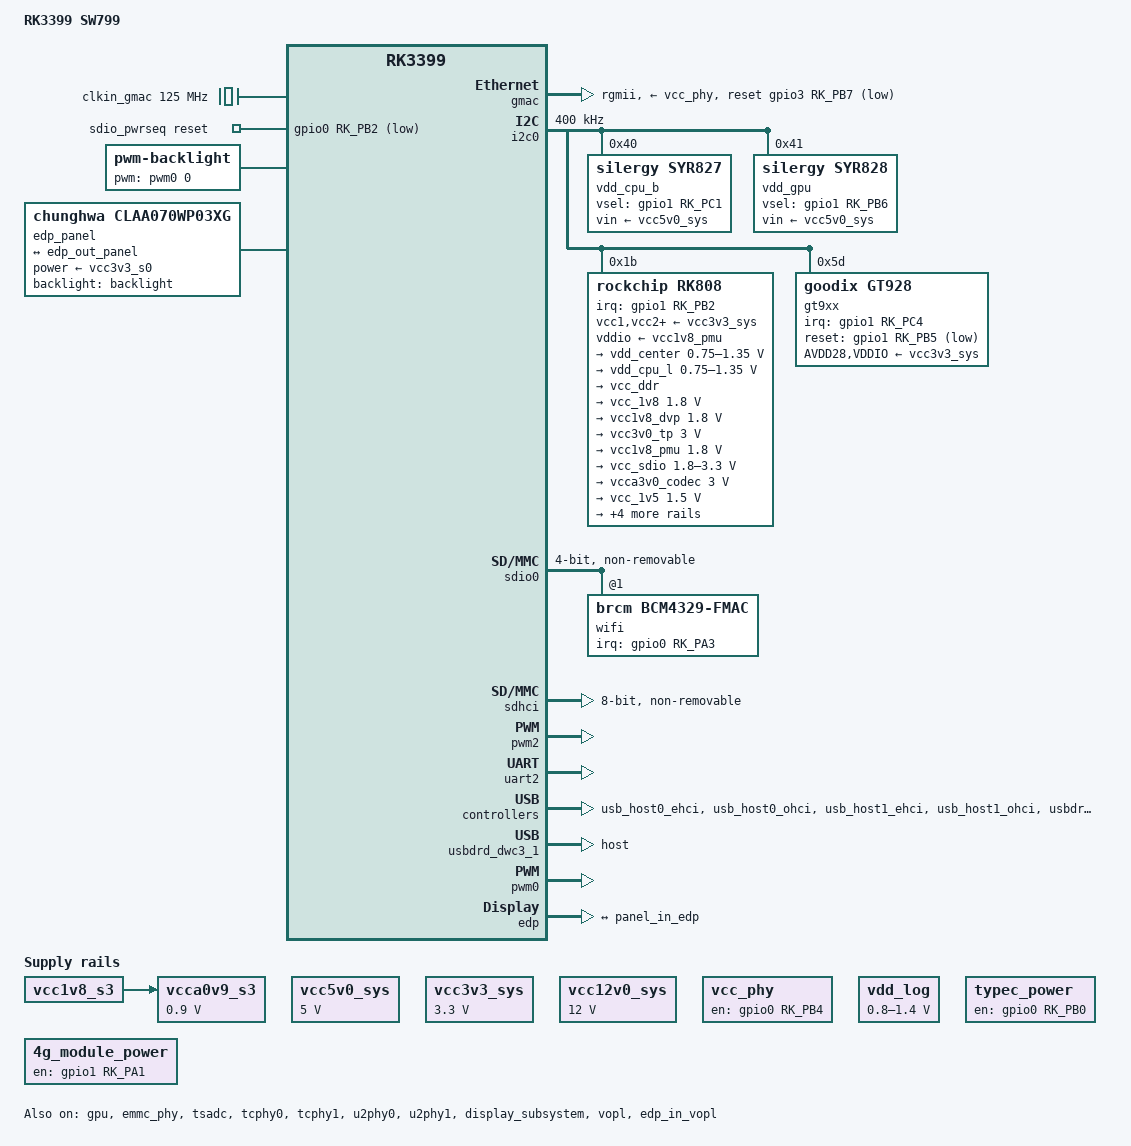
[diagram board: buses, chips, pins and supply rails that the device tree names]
/dts-v1/;
#include <dt-bindings/pwm/pwm.h>
#include <dt-bindings/input/input.h>
#include "rk3399.dtsi"
#include "rk3399-opp.dtsi"


/ {
	model = "RK3399 SW799";
	compatible = "rockchip,rk3399-sw799", "rockchip,rk3399";

	aliases {
		mmc0 = &sdhci;
	};

	
	clkin_gmac: external-gmac-clock {
		compatible = "fixed-clock";
		clock-frequency = <125000000>;
		clock-output-names = "clkin_gmac";
		#clock-cells = <0>;
	};

	vcc5v0_sys: vcc5v0-sys {
		compatible = "regulator-fixed";
		regulator-name = "vcc5v0_sys";
		regulator-always-on;
		regulator-boot-on;
		regulator-min-microvolt = <5000000>;
		regulator-max-microvolt = <5000000>;
	};

	vcc3v3_sys: vcc3v3-sys {
		compatible = "regulator-fixed";
		regulator-name = "vcc3v3_sys";
		regulator-always-on;
		regulator-boot-on;
		regulator-min-microvolt = <3300000>;
		regulator-max-microvolt = <3300000>;
	};



	vcca0v9_s3: vcca0v9-s3 {
		compatible = "regulator-fixed";
		regulator-min-microvolt = <900000>;
		regulator-max-microvolt = <900000>;
		regulator-name = "vcca0v9_s3";
		vin-supply = <&vcc1v8_s3>;
	};

	vcc12v0_sys: vcc12v0-sys {
		compatible = "regulator-fixed";
		regulator-always-on;
		regulator-boot-on;
		regulator-max-microvolt = <12000000>;
		regulator-min-microvolt = <12000000>;
		regulator-name = "vcc12v0_sys";
	};



	vcc_phy: vcc-phy {
		compatible = "regulator-fixed";
		enable-active-high;
		gpio = <&gpio0 RK_PB4 GPIO_ACTIVE_HIGH>;
		pinctrl-names = "default";
		regulator-name = "vcc_phy";
		regulator-always-on;
		regulator-boot-on;
	};

	vdd_log: vdd-log  {
		compatible = "pwm-regulator";
		pwms = <&pwm2 0 25000 1>;
		regulator-name = "vdd_log";
		regulator-min-microvolt = <800000>;
		regulator-max-microvolt = <1400000>;
		rockchip,pwm_voltage = <900000>;
		regulator-always-on;
		regulator-boot-on;
	};

	sdio_pwrseq: sdio-pwrseq {
		compatible = "mmc-pwrseq-simple";
		clocks = <&rk808 1>;
		clock-names = "ext_clock";
		pinctrl-names = "default";
		reset-gpios = <&gpio0 RK_PB2 GPIO_ACTIVE_LOW>;
	};

	typec_power {
		status = "okay";
		compatible = "regulator-fixed";
		enable-active-high;
		gpio = <&gpio0 RK_PB0 GPIO_ACTIVE_HIGH>;
		pinctrl-names = "default";
		regulator-name = "typec_power";
		regulator-always-on;
	};

	usb_power {
		status = "okay";
		compatible = "regulator-fixed";
		enable-active-high;
		gpio = <&gpio2 RK_PD3 GPIO_ACTIVE_HIGH>;
		pinctrl-names = "default";
		regulator-name = "typec_power";
		regulator-always-on;
	};

	4g_module_power {
		status = "okay";
		compatible = "regulator-fixed";
		enable-active-high;
		gpio = <&gpio1 RK_PA1 GPIO_ACTIVE_HIGH>;
		pinctrl-names = "default";
		regulator-name = "4g_module_power";
		regulator-always-on;
	};


	backlight: backlight {
		compatible = "pwm-backlight";
		brightness-levels = <
			  0   1   2   3   4   5   6   7
			  8   9  10  11  12  13  14  15
			 16  17  18  19  20  21  22  23
			 24  25  26  27  28  29  30  31
			 32  33  34  35  36  37  38  39
			 40  41  42  43  44  45  46  47
			 48  49  50  51  52  53  54  55
			 56  57  58  59  60  61  62  63
			 64  65  66  67  68  69  70  71
			 72  73  74  75  76  77  78  79
			 80  81  82  83  84  85  86  87
			 88  89  90  91  92  93  94  95
			 96  97  98  99 100 101 102 103
			104 105 106 107 108 109 110 111
			112 113 114 115 116 117 118 119
			120 121 122 123 124 125 126 127
			128 129 130 131 132 133 134 135
			136 137 138 139 140 141 142 143
			144 145 146 147 148 149 150 151
			152 153 154 155 156 157 158 159
			160 161 162 163 164 165 166 167
			168 169 170 171 172 173 174 175
			176 177 178 179 180 181 182 183
			184 185 186 187 188 189 190 191
			192 193 194 195 196 197 198 199
			200 201 202 203 204 205 206 207
			208 209 210 211 212 213 214 215
			216 217 218 219 220 221 222 223
			224 225 226 227 228 229 230 231
			232 233 234 235 236 237 238 239
			240 241 242 243 244 245 246 247
			248 249 250 251 252 253 254 255>;
		default-brightness-level = <200>;
		pwms = <&pwm0 0 25000 0>;
	};


	edp_panel: edp-panel {		
	    compatible = "chunghwa,claa070wp03xg";
        status = "okay";
    
		backlight = <&backlight>;
		power-supply = <&vcc3v3_s0>;
        prepare-delay-ms = <20>;
        enable-delay-ms = <20>;

		port {
				panel_in_edp: endpoint {
						remote-endpoint = <&edp_out_panel>;
				};
		};
	};


};

&cpu_l0 {
	cpu-supply = <&vdd_cpu_l>;
};

&cpu_l1 {
	cpu-supply = <&vdd_cpu_l>;
};

&cpu_l2 {
	cpu-supply = <&vdd_cpu_l>;
};

&cpu_l3 {
	cpu-supply = <&vdd_cpu_l>;
};

&cpu_b0 {
	cpu-supply = <&vdd_cpu_b>;
};

&cpu_b1 {
	cpu-supply = <&vdd_cpu_b>;
};

&gpu {
	mali-supply = <&vdd_gpu>;
	status = "okay";
};

&emmc_phy {
	status = "okay";
};

&gmac {
	phy-supply = <&vcc_phy>;
	phy-mode = "rgmii";
	clock_in_out = "input";
	snps,reset-gpio = <&gpio3 RK_PB7 GPIO_ACTIVE_LOW>;
	snps,reset-active-low;
	snps,reset-delays-us = <0 10000 50000>;
	assigned-clocks = <&cru SCLK_RMII_SRC>;
	assigned-clock-parents = <&clkin_gmac>;
	pinctrl-names = "default";
	pinctrl-0 = <&rgmii_pins>;
	tx_delay = <0x28>;
	rx_delay = <0x11>;
	status = "okay";
};

&i2c0 {
	status = "okay";
	i2c-scl-rising-time-ns = <168>;
	i2c-scl-falling-time-ns = <4>;
	clock-frequency = <400000>;

	vdd_cpu_b: syr827@40 {
		compatible = "silergy,syr827";
		reg = <0x40>;
		vin-supply = <&vcc5v0_sys>;
		regulator-compatible = "fan53555-reg";
		vsel-gpios = <&gpio1 RK_PC1 GPIO_ACTIVE_HIGH>;
		regulator-name = "vdd_cpu_b";
		regulator-min-microvolt = <712500>;
		regulator-max-microvolt = <1500000>;
		regulator-ramp-delay = <1000>;
		fcs,suspend-voltage-selector = <1>;
		regulator-always-on;
		regulator-boot-on;
		regulator-initial-state = <3>;

		regulator-state-mem {
			regulator-off-in-suspend;
		};
	};

	vdd_gpu: syr828@41 {
		compatible = "silergy,syr828";
		reg = <0x41>;
		vin-supply = <&vcc5v0_sys>;
		regulator-compatible = "fan53555-reg";
		pinctrl-names = "default";
		vsel-gpios = <&gpio1 RK_PB6 GPIO_ACTIVE_HIGH>;
		regulator-name = "vdd_gpu";
		regulator-min-microvolt = <712500>;
		regulator-max-microvolt = <1500000>;
		regulator-ramp-delay = <1000>;
		fcs,suspend-voltage-selector = <1>;
		regulator-always-on;
		regulator-boot-on;
		regulator-initial-state = <3>;

		regulator-state-mem {
			regulator-off-in-suspend;
		};
	};

	rk808: pmic@1b {
		compatible = "rockchip,rk808";
		reg = <0x1b>;
		interrupt-parent = <&gpio1>;
		interrupts = <RK_PB2 IRQ_TYPE_LEVEL_LOW>;
		pinctrl-names = "default";
		rockchip,system-power-controller;
		wakeup-source;
		#clock-cells = <1>;
		clock-output-names = "xin32k", "rk808-clkout2";
		vcc1-supply = <&vcc3v3_sys>;
		vcc2-supply = <&vcc3v3_sys>;
		vcc3-supply = <&vcc3v3_sys>;
		vcc4-supply = <&vcc3v3_sys>;
		vcc6-supply = <&vcc3v3_sys>;
		vcc7-supply = <&vcc3v3_sys>;
		vcc8-supply = <&vcc3v3_sys>;
		vcc9-supply = <&vcc3v3_sys>;
		vcc10-supply = <&vcc3v3_sys>;
		vcc11-supply = <&vcc3v3_sys>;
		vcc12-supply = <&vcc3v3_sys>;
		vddio-supply = <&vcc1v8_pmu>;

		regulators {

			vdd_center: DCDC_REG1 {
				regulator-always-on;
				regulator-boot-on;
				regulator-min-microvolt = <750000>;
				regulator-max-microvolt = <1350000>;
				regulator-ramp-delay = <6001>;
				regulator-name = "vdd_center";

				regulator-state-mem {
					regulator-off-in-suspend;
				};
			};

			vdd_cpu_l: DCDC_REG2 {
				regulator-always-on;
				regulator-boot-on;
				regulator-min-microvolt = <750000>;
				regulator-max-microvolt = <1350000>;
				regulator-ramp-delay = <6001>;
				regulator-name = "vdd_cpu_l";

				regulator-state-mem {
					regulator-off-in-suspend;
				};
			};

			vcc_ddr: DCDC_REG3 {
				regulator-always-on;
				regulator-boot-on;
				regulator-name = "vcc_ddr";

				regulator-state-mem {
					regulator-on-in-suspend;
				};
			};

			vcc_1v8: DCDC_REG4 {
				regulator-always-on;
				regulator-boot-on;
				regulator-min-microvolt = <1800000>;
				regulator-max-microvolt = <1800000>;
				regulator-name = "vcc_1v8";

				regulator-state-mem {
					regulator-on-in-suspend;
					regulator-suspend-microvolt = <1800000>;
				};
			};

			vcc1v8_dvp: LDO_REG1 {
				regulator-always-on;
				regulator-boot-on;
				regulator-min-microvolt = <1800000>;
				regulator-max-microvolt = <1800000>;
				regulator-name = "vcc1v8_dvp";

				regulator-state-mem {
					regulator-off-in-suspend;
				};
			};

			vcc3v0_tp: LDO_REG2 {
				regulator-always-on;
				regulator-boot-on;
				regulator-min-microvolt = <3000000>;
				regulator-max-microvolt = <3000000>;
				regulator-name = "vcc3v0_tp";

				regulator-state-mem {
					regulator-off-in-suspend;
				};
			};

			vcc1v8_pmu: LDO_REG3 {
				regulator-always-on;
				regulator-boot-on;
				regulator-min-microvolt = <1800000>;
				regulator-max-microvolt = <1800000>;
				regulator-name = "vcc1v8_pmu";

				regulator-state-mem {
					regulator-on-in-suspend;
					regulator-suspend-microvolt = <1800000>;
				};
			};

			vcc_sdio: LDO_REG4 {
				regulator-always-on;
				regulator-boot-on;
				regulator-min-microvolt = <1800000>;
				regulator-max-microvolt = <3300000>;
				regulator-name = "vcc_sdio";

				regulator-state-mem {
					regulator-on-in-suspend;
					regulator-suspend-microvolt = <3300000>;
				};
			};

			vcca3v0_codec: LDO_REG5 {
				regulator-always-on;
				regulator-boot-on;
				regulator-min-microvolt = <3000000>;
				regulator-max-microvolt = <3000000>;
				regulator-name = "vcca3v0_codec";

				regulator-state-mem {
					regulator-off-in-suspend;
				};
			};

			vcc_1v5: LDO_REG6 {
				regulator-always-on;
				regulator-boot-on;
				regulator-min-microvolt = <1500000>;
				regulator-max-microvolt = <1500000>;
				regulator-name = "vcc_1v5";

				regulator-state-mem {
					regulator-on-in-suspend;
					regulator-suspend-microvolt = <1500000>;
				};
			};

			vcc1v8_codec: LDO_REG7 {
				regulator-always-on;
				regulator-boot-on;
				regulator-min-microvolt = <1800000>;
				regulator-max-microvolt = <1800000>;
				regulator-name = "vcc1v8_codec";

				regulator-state-mem {
					regulator-off-in-suspend;
				};
			};

			vcc_3v0: LDO_REG8 {
				regulator-always-on;
				regulator-boot-on;
				regulator-min-microvolt = <3000000>;
				regulator-max-microvolt = <3000000>;
				regulator-name = "vcc_3v0";

				regulator-state-mem {
					regulator-on-in-suspend;
					regulator-suspend-microvolt = <3000000>;
				};
			};

			vcc3v3_s3: SWITCH_REG1 {
				regulator-always-on;
				regulator-boot-on;
				regulator-name = "vcc3v3_s3";

				regulator-state-mem {
					regulator-off-in-suspend;
				};
			};

			vcc3v3_s0: SWITCH_REG2 {
				regulator-always-on;
				regulator-boot-on;
				regulator-name = "vcc3v3_s0";

				regulator-state-mem {
					regulator-off-in-suspend;
				};
			};
		};
	};

	gt9xx: goodix_ts@5d {
                compatible = "goodix,gt928";
                reg = <0x5d>;
                interrupt-parent = <&gpio1>;
                interrupts = <RK_PC4 IRQ_TYPE_EDGE_FALLING>;
                AVDD28-supply = <&vcc3v3_sys>;
                VDDIO-supply = <&vcc3v3_sys>;
                irq-gpios = <&gpio1 RK_PC4 GPIO_ACTIVE_HIGH>;
                reset-gpios = <&gpio1 RK_PB5 GPIO_ACTIVE_LOW>;
                status = "okay";
        };


};

&sdio0 {
	bus-width = <4>;
	cap-sdio-irq;
	cap-sd-highspeed;
	keep-power-in-suspend;
	mmc-pwrseq = <&sdio_pwrseq>;
	non-removable;
	pinctrl-names = "default";
	pinctrl-0 = <&sdio0_bus4 &sdio0_cmd &sdio0_clk>;
	sd-uhs-sdr104;
	#address-cells = <1>;
	#size-cells = <0>;
	status = "okay";

	wifi@1 {
		reg = <1>;
		compatible = "brcm,bcm4329-fmac";
		interrupt-parent = <&gpio0>;
		interrupts = <RK_PA3 GPIO_ACTIVE_HIGH>;
		interrupt-names = "host-wake";
		brcm,drive-strength = <5>;
		pinctrl-names = "default";
	};
};

&sdhci {
	bus-width = <8>;
	mmc-hs400-1_8v;
	mmc-hs400-enhanced-strobe;
	keep-power-in-suspend;
	non-removable;
	supports-emmc;
	status = "okay";
};

&tsadc {
	status = "okay";
	rockchip,hw-tshut-mode = <1>;
	rockchip,hw-tshut-polarity = <1>;
};

&pwm2 {
	status = "okay";
};

&uart2 {
	status = "okay";
};

&tcphy0 {
	status = "okay";
};

&tcphy1 {
	status = "okay";
};

&u2phy0 {
	status = "okay";

	u2phy0_otg: otg-port {
		status = "disable";
	};

	u2phy0_host: host-port {
		status = "okay";
	};
};

&u2phy1 {
	status = "okay";

	u2phy1_otg: otg-port {
		status = "okay";
	};

	u2phy1_host: host-port {
		status = "okay";
	};
};

&usb_host0_ehci {
	status = "okay";
};

&usb_host0_ohci {
	status = "okay";
};

&usb_host1_ehci {
	status = "okay";
};

&usb_host1_ohci {
	status = "okay";
};

&usbdrd3_0 {
	status = "disable";
};

&usbdrd_dwc3_0 {
	status = "disable";
	dr_mode = "host";
};

&usbdrd3_1 {
	status = "okay";
};

&usbdrd_dwc3_1 {
	status = "okay";
	dr_mode = "host";
};



&pwm0 {
	status = "okay";
};




&display_subsystem {
         status = "okay";
};

&vopl {
        status = "okay";
};

&vopl_mmu {
        status = "okay";
};
     
&edp {     
        status = "okay";
        force-hpd;

        ports {
                edp_out: port@1 {
                        reg = <1>;
                        #address-cells = <1>;
                        #size-cells = <0>;

                        edp_out_panel: endpoint@0 {
                                reg = <0>;
                                remote-endpoint = <&panel_in_edp>;
                        };
                };
        };
};

&edp_in_vopl{
        status = "okay";
};

&edp_in_vopb{
        status = "disabled";
};


